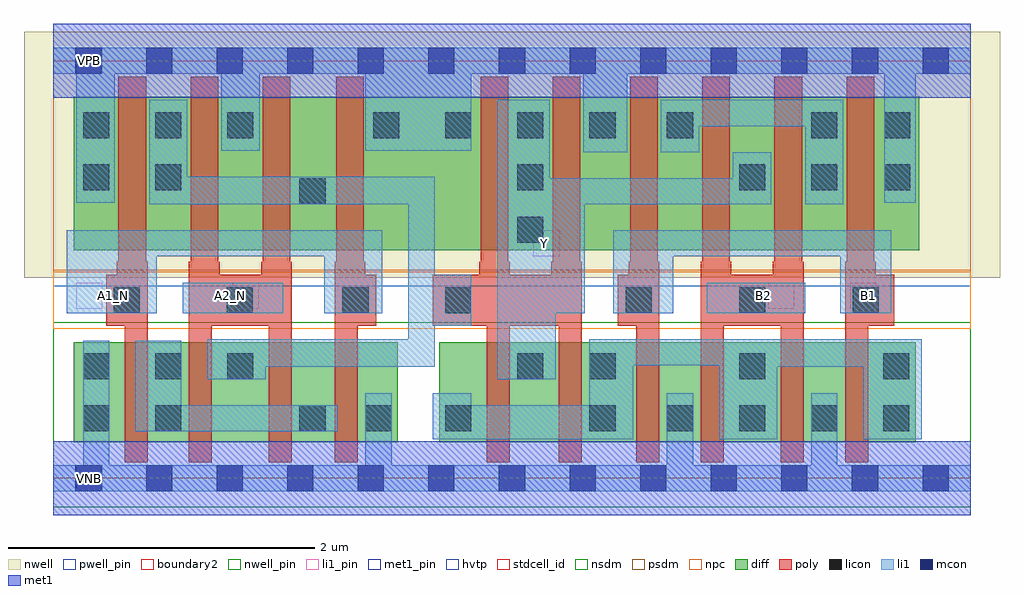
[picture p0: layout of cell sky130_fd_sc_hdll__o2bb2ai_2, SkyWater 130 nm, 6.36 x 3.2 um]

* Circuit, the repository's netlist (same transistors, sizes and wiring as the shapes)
* Copyright 2020 The SkyWater PDK Authors
*
* Licensed under the Apache License, Version 2.0 (the "License");
* you may not use this file except in compliance with the License.
* You may obtain a copy of the License at
*
*     https://www.apache.org/licenses/LICENSE-2.0
*
* Unless required by applicable law or agreed to in writing, software
* distributed under the License is distributed on an "AS IS" BASIS,
* WITHOUT WARRANTIES OR CONDITIONS OF ANY KIND, either express or implied.
* See the License for the specific language governing permissions and
* limitations under the License.
*
* SPDX-License-Identifier: Apache-2.0

.SUBCKT sky130_fd_sc_hdll__o2bb2ai_2 A1_N A2_N B1 B2 VGND VNB VPB VPWR Y
*.PININFO A1_N:I A2_N:I B1:I B2:I VGND:I VNB:I VPB:I VPWR:I Y:O
MMNnand0 VGND A1_N sndNA1N VNB sky130_fd_pr__nfet_01v8 m=2 w=0.65U l=0.15U mult=1
+ sa=0.265 sb=0.265 sd=0.28 area=0.063 perim=1.14
MMNnand1 sndNA1N A2_N inand VNB sky130_fd_pr__nfet_01v8 m=2 w=0.65U l=0.15U mult=1
+ sa=0.265 sb=0.265 sd=0.28 area=0.063 perim=1.14
MMNaoi10 nmid B1 VGND VNB sky130_fd_pr__nfet_01v8 m=2 w=0.65U l=0.15U mult=1 sa=0.265
+ sb=0.265 sd=0.28 area=0.063 perim=1.14
MMNaoi11 nmid B2 VGND VNB sky130_fd_pr__nfet_01v8 m=2 w=0.65U l=0.15U mult=1 sa=0.265
+ sb=0.265 sd=0.28 area=0.063 perim=1.14
MMNaoi20 Y inand nmid VNB sky130_fd_pr__nfet_01v8 m=2 w=0.65U l=0.15U mult=1 sa=0.265
+ sb=0.265 sd=0.28 area=0.063 perim=1.14
MMPnand0 inand A1_N VPWR VPB sky130_fd_pr__pfet_01v8_hvt m=2 w=1.0U l=0.18U mult=1
+ sa=0.265 sb=0.265 sd=0.28 area=0.063 perim=1.14
MMPnand1 inand A2_N VPWR VPB sky130_fd_pr__pfet_01v8_hvt m=2 w=1.0U l=0.18U mult=1
+ sa=0.265 sb=0.265 sd=0.28 area=0.063 perim=1.14
MMPaoi10 VPWR B1 sndPB1 VPB sky130_fd_pr__pfet_01v8_hvt m=2 w=1.0U l=0.18U mult=1
+ sa=0.265 sb=0.265 sd=0.28 area=0.063 perim=1.14
MMPaoi11 sndPB1 B2 Y VPB sky130_fd_pr__pfet_01v8_hvt m=2 w=1.0U l=0.18U mult=1
+ sa=0.265 sb=0.265 sd=0.28 area=0.063 perim=1.14
MMPaoi20 Y inand VPWR VPB sky130_fd_pr__pfet_01v8_hvt m=2 w=1.0U l=0.18U mult=1
+ sa=0.265 sb=0.265 sd=0.28 area=0.063 perim=1.14
.ENDS sky130_fd_sc_hdll__o2bb2ai_2

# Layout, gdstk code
import gdstk
lib = gdstk.Library(unit=1e-6, precision=1e-09)
def R(c, l, rs):  # rectangles x0, y0, x1, y1
    for r in rs: c.add(gdstk.rectangle(r[:2], r[2:], *l))
def A(c, l, x, y, w, h, nx, ny, dx, dy):  # array of equal rectangles
    R(c, l, [(x+i*dx, y+j*dy, x+i*dx+w, y+j*dy+h) for i in range(nx) for j in range(ny)])
def P(c, l, *ps):  # polygons
    for p in ps: c.add(gdstk.Polygon(p, *l))
nwell_pin = (64, 16)
nwell = (64, 20)
diff = (65, 20)
poly = (66, 20)
licon = (66, 44)
li1_pin = (67, 16)
li1 = (67, 20)
mcon = (67, 44)
met1_pin = (68, 16)
met1 = (68, 20)
hvtp = (78, 44)
stdcell_id = (81, 4)
nsdm = (93, 44)
psdm = (94, 20)
npc = (95, 20)
pwell_pin = (122, 16)
boundary2 = (236, 0)

sky130_fd_sc_hdll__o2bb2 = lib.new_cell('sky130_fd_sc_hdll__o2bb2ai_2')
R(sky130_fd_sc_hdll__o2bb2, nwell_pin, [(0.15,2.635,0.32,2.805)])
R(sky130_fd_sc_hdll__o2bb2, nwell, [(-0.19,1.305,6.17,2.91)])
R(sky130_fd_sc_hdll__o2bb2, diff, [(0.135,0.235,2.245,0.885), (2.515,0.235,5.62,0.885), (0.135,1.485,5.645,2.485)])
P(sky130_fd_sc_hdll__o2bb2, poly, [(0.615,1.41),(0.605,1.41),(0.605,2.615),(0.425,2.615),(0.425,1.41),(0.415,1.41),(0.415,1.325),(0.345,1.325),(0.345,0.995),(0.465,0.995),(0.465,0.105),(0.615,0.105)],
  [(1.555,1.41),(1.545,1.41),(1.545,2.615),(1.365,2.615),(1.365,1.41),(1.355,1.41),(1.355,1.325),(1.085,1.325),(1.085,1.41),(1.075,1.41),(1.075,2.615),(0.895,2.615),(0.895,1.41),(0.885,1.41),(0.885,0.105),(1.035,0.105),(1.035,0.995),(1.405,0.995),(1.405,0.105),(1.555,0.105)],
  [(2.105,1.325),(2.035,1.325),(2.035,1.41),(2.025,1.41),(2.025,2.615),(1.845,2.615),(1.845,1.41),(1.835,1.41),(1.835,0.105),(1.985,0.105),(1.985,0.995),(2.105,0.995)],
  [(3.445,1.41),(3.435,1.41),(3.435,2.615),(3.255,2.615),(3.255,1.41),(3.245,1.41),(3.245,1.325),(2.975,1.325),(2.975,1.41),(2.965,1.41),(2.965,2.615),(2.785,2.615),(2.785,1.41),(2.775,1.41),(2.775,1.325),(2.475,1.325),(2.475,0.995),(2.825,0.995),(2.825,0.105),(2.975,0.105),(2.975,0.995),(3.295,0.995),(3.295,0.105),(3.445,0.105)],
  [(3.95,1.41),(3.94,1.41),(3.94,2.615),(3.76,2.615),(3.76,1.41),(3.75,1.41),(3.75,1.325),(3.68,1.325),(3.68,0.995),(3.8,0.995),(3.8,0.105),(3.95,0.105)],
  [(4.89,1.41),(4.88,1.41),(4.88,2.615),(4.7,2.615),(4.7,1.41),(4.69,1.41),(4.69,1.325),(4.42,1.325),(4.42,1.41),(4.41,1.41),(4.41,2.615),(4.23,2.615),(4.23,1.41),(4.22,1.41),(4.22,0.105),(4.37,0.105),(4.37,0.995),(4.74,0.995),(4.74,0.105),(4.89,0.105)],
  [(5.48,1.325),(5.36,1.325),(5.36,1.41),(5.35,1.41),(5.35,2.615),(5.17,2.615),(5.17,1.41),(5.16,1.41),(5.16,0.105),(5.31,0.105),(5.31,0.995),(5.48,0.995)])
A(sky130_fd_sc_hdll__o2bb2, licon, 4, 0.305, 0.17, 0.17, 4, 1, 0.47, 0)
A(sky130_fd_sc_hdll__o2bb2, licon, 0.195, 0.645, 0.17, 0.17, 3, 2, 0.47, 1.57)
A(sky130_fd_sc_hdll__o2bb2, licon, 3.73, 1.075, 0.17, 0.17, 3, 1, 0.74, 0)
A(sky130_fd_sc_hdll__o2bb2, licon, 2.085, 2.215, 0.17, 0.17, 4, 1, 0.47, 0)
R(sky130_fd_sc_hdll__o2bb2, licon, [(0.195,0.305,0.365,0.475), (0.665,0.305,0.835,0.475), (1.605,0.305,1.775,0.475), (2.035,0.305,2.205,0.475), (2.555,0.305,2.725,0.475), (3.495,0.305,3.665,0.475), (3.025,0.645,3.195,0.815), (3.495,0.645,3.665,0.815), (4.47,0.645,4.64,0.815), (5.41,0.645,5.58,0.815), (0.395,1.075,0.565,1.245), (1.13,1.075,1.3,1.245), (1.885,1.075,2.055,1.245), (2.555,1.075,2.725,1.245), (3.025,1.535,3.195,1.705), (1.605,1.785,1.775,1.955), (0.195,1.875,0.365,2.045), (0.665,1.875,0.835,2.045), (3.025,1.875,3.195,2.045), (4.47,1.875,4.64,2.045), (4.94,1.875,5.11,2.045), (5.415,1.875,5.585,2.045), (4,2.215,4.17,2.385), (4.94,2.215,5.11,2.385), (5.415,2.215,5.585,2.385)])
R(sky130_fd_sc_hdll__o2bb2, li1_pin, [(0.15,1.105,0.32,1.275), (1.17,1.105,1.34,1.275), (4.66,1.105,4.83,1.275), (5.195,1.105,5.365,1.275), (3.13,1.445,3.3,1.615)])
R(sky130_fd_sc_hdll__o2bb2, li1, [(0.845,1.075,1.5,1.275), (4.26,1.075,4.9,1.275)])
P(sky130_fd_sc_hdll__o2bb2, li1, [(1.855,0.475),(0.835,0.475),(0.835,0.895),(0.535,0.895),(0.535,0.305),(1.855,0.305)],
  [(5.98,0.085),(5.11,0.085),(5.11,0.555),(4.94,0.555),(4.94,0.085),(4.17,0.085),(4.17,0.555),(4,0.555),(4,0.085),(2.205,0.085),(2.205,0.555),(2.035,0.555),(2.035,0.085),(0.365,0.085),(0.365,0.895),(0.195,0.895),(0.195,0.085),(0,0.085),(0,-0.085),(5.98,-0.085)],
  [(5.98,2.805),(0,2.805),(0,2.635),(0.15,2.635),(0.15,1.795),(0.4,1.795),(0.4,2.635),(1.095,2.635),(1.095,2.135),(1.345,2.135),(1.345,2.635),(2.035,2.635),(2.035,2.135),(2.725,2.135),(2.725,2.635),(3.455,2.635),(3.455,2.125),(3.74,2.125),(3.74,2.635),(5.415,2.635),(5.415,1.795),(5.62,1.795),(5.62,2.635),(5.98,2.635)],
  [(5.46,1.615),(3.65,1.615),(3.65,1.075),(4.04,1.075),(4.04,1.445),(5.13,1.445),(5.13,1.075),(5.46,1.075)],
  [(5.66,0.905),(3.495,0.905),(3.495,0.475),(2.725,0.475),(2.725,0.555),(2.475,0.555),(2.475,0.255),(3.78,0.255),(3.78,0.735),(4.34,0.735),(4.34,0.255),(4.72,0.255),(4.72,0.725),(5.28,0.725),(5.28,0.255),(5.66,0.255)],
  [(5.15,2.465),(3.96,2.465),(3.96,2.125),(4.21,2.125),(4.21,2.295),(4.9,2.295),(4.9,1.785),(5.15,1.785)],
  [(4.68,2.125),(4.43,2.125),(4.43,1.955),(3.235,1.955),(3.235,2.465),(2.895,2.465),(2.895,0.645),(3.275,0.645),(3.275,1.075),(3.465,1.075),(3.465,1.785),(4.68,1.785)],
  [(2.725,1.325),(2.485,1.325),(2.485,1.965),(0.875,1.965),(0.875,2.465),(0.625,2.465),(0.625,1.785),(2.315,1.785),(2.315,0.905),(1.005,0.905),(1.005,0.645),(1.385,0.645),(1.385,0.725),(2.485,0.725),(2.485,0.995),(2.725,0.995)],
  [(2.145,1.615),(0.09,1.615),(0.09,1.075),(0.675,1.075),(0.675,1.445),(1.765,1.445),(1.765,1.075),(2.145,1.075)])
A(sky130_fd_sc_hdll__o2bb2, mcon, 0.145, -0.085, 0.17, 0.17, 13, 2, 0.46, 2.72)
R(sky130_fd_sc_hdll__o2bb2, met1_pin, [(0.15,-0.085,0.32,0.085), (0.15,2.635,0.32,2.805)])
R(sky130_fd_sc_hdll__o2bb2, met1, [(0,-0.24,5.98,0.24), (0,2.48,5.98,2.96)])
R(sky130_fd_sc_hdll__o2bb2, hvtp, [(0,1.25,5.98,2.72)])
R(sky130_fd_sc_hdll__o2bb2, stdcell_id, [(0,0,5.98,2.72)])
R(sky130_fd_sc_hdll__o2bb2, nsdm, [(0,-0.19,5.98,1.015)])
R(sky130_fd_sc_hdll__o2bb2, psdm, [(0,1.355,5.98,2.91)])
R(sky130_fd_sc_hdll__o2bb2, npc, [(0,0.975,5.98,1.345)])
R(sky130_fd_sc_hdll__o2bb2, pwell_pin, [(0.15,-0.085,0.32,0.085)])
R(sky130_fd_sc_hdll__o2bb2, boundary2, [(0,0,5.98,2.72)])
sky130_fd_sc_hdll__o2bb2.add(gdstk.Label('B2', (4.63,1.19), layer=67, texttype=5))
sky130_fd_sc_hdll__o2bb2.add(gdstk.Label('Y', (3.205,1.53), layer=67, texttype=5))
sky130_fd_sc_hdll__o2bb2.add(gdstk.Label('A1_N', (0.395,1.19), layer=67, texttype=5))
sky130_fd_sc_hdll__o2bb2.add(gdstk.Label('A2_N', (1.155,1.19), layer=67, texttype=5))
sky130_fd_sc_hdll__o2bb2.add(gdstk.Label('B1', (5.31,1.19), layer=67, texttype=5))
sky130_fd_sc_hdll__o2bb2.add(gdstk.Label('VNB', (0.235,0), layer=64, texttype=59))
sky130_fd_sc_hdll__o2bb2.add(gdstk.Label('VPB', (0.235,2.72), layer=64, texttype=5))
sky130_fd_sc_hdll__o2bb2.add(gdstk.Label('VGND', (0.23,0), layer=68, texttype=5))
sky130_fd_sc_hdll__o2bb2.add(gdstk.Label('VPWR', (0.23,2.72), layer=68, texttype=5))
sky130_fd_sc_hdll__o2bb2.add(gdstk.Label('o2bb2ai_2', (0,0), layer=83, texttype=44))

lib.write_gds('sky130_fd_sc_hdll__o2bb2ai_2.gds')
